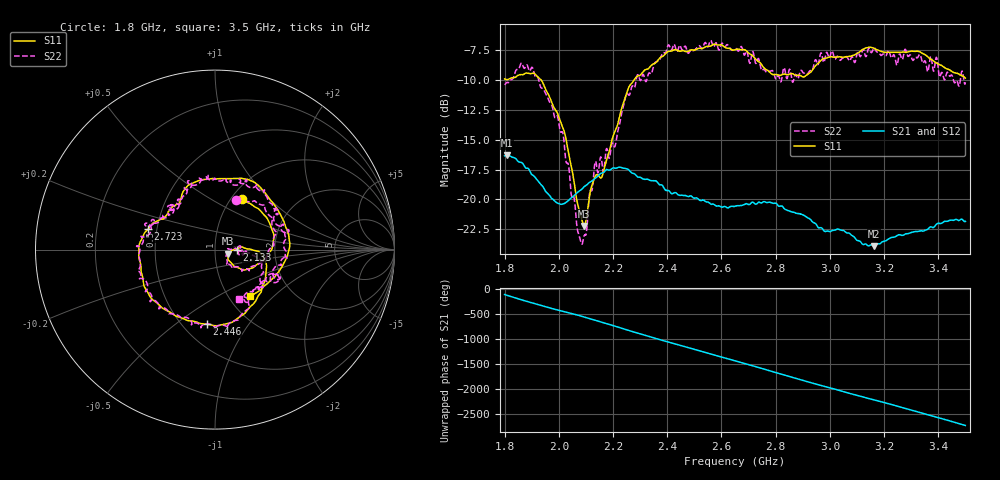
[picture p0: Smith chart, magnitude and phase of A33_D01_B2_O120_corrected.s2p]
! Created with skrf 1.9.0 (http://scikit-rf.org).
# Hz S RI R 50.0
!freq ReS11 ImS11 ReS21 ImS21 ReS12 ImS12 ReS22 ImS22
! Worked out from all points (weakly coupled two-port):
!   1601 points, 1.8 GHz to 3.5 GHz, reference 50 ohm
!   highest |S21| = -16.30 dB at 1.81 GHz (marker M1); lowest = -23.9 dB at 3.162 GHz (marker M2)
!   lowest |S11| = -22.2 dB at 2.093 GHz (marker M3), VSWR 1.17, Z = 57.9 - j2.68 ohm
!   |S11| at or under -10 dB: 1.935 GHz to 2.277 GHz (342.1 MHz wide, 16.2 % of centre)
!   |S22| runs from -23.7 to -6.7 dB; largest |S21 - S12| = 0.003
!   S11 on the Smith chart (normalised r, x): 1.8 GHz: 1.12, +0.70; 2.133 GHz: 1.28, -0.00; 2.446 GHz: 0.65, -0.66; 2.723 GHz: 0.45, +0.12; 3.5 GHz: 1.25, -0.72
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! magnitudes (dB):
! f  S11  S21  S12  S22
! 1.8 GHz  -9.9  -16.3  -16.3  -10.4
! 1.81 GHz  -10.0  -16.3  -16.3  -10.2
! 1.881 GHz  -9.4  -17.4  -17.4  -8.7
! 1.968 GHz  -11.5  -19.7  -19.8  -11.9
! 2.014 GHz  -13.9  -20.4  -20.4  -14.3
! 2.084 GHz  -21.6  -19.2  -19.1  -23.7
! 2.093 GHz  -22.2  -18.9  -19.0  -23.0
! 2.133 GHz  -18.2  -18.3  -18.3  -17.0
! 2.161 GHz  -18.0  -17.8  -17.7  -17.3
! 2.208 GHz  -14.3  -17.4  -17.4  -15.5
! 2.26 GHz  -10.5  -17.6  -17.6  -11.3
! 2.367 GHz  -8.3  -18.7  -18.6  -8.4
! 2.446 GHz  -7.6  -19.6  -19.7  -7.1
! 2.65 GHz  -7.5  -20.6  -20.5  -7.4
! 2.723 GHz  -8.2  -20.4  -20.3  -8.4
! 2.814 GHz  -9.6  -20.6  -20.5  -9.8
! 2.934 GHz  -9.2  -21.8  -21.8  -9.2
! 2.967 GHz  -8.4  -22.4  -22.4  -7.7
! 3.162 GHz  -7.3  -23.9  -23.9  -7.3
! 3.217 GHz  -7.7  -23.3  -23.3  -7.5
! 3.328 GHz  -7.6  -22.7  -22.7  -7.9
! 3.5 GHz  -9.8  -21.8  -21.8  -10.2
